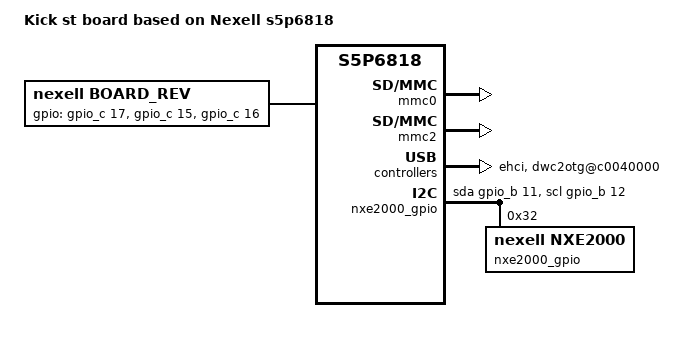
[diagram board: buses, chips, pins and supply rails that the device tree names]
/*
 * (C) Copyright 2016 Nexell
 * Young bok <ybpark@nexell.co.kr>
 *
 * SPDX-License-Identifier: GPL-2.0+
 */

/dts-v1/;
#include "s5p6818.dtsi"
#include "s5p6818-kick-st-nxe2000.dtsi"

/ {
	model = "Kick st board based on Nexell s5p6818";
	cpu-model = "S5p6818";

	compatible = "nexell,kick-st", "nexell,s5p6818";

	mmc0:mmc@c0062000 {
		frequency = <50000000>;
		nexell,drive_dly = <0x0>;
		nexell,drive_shift = <0x03>;
		nexell,sample_dly = <0x00>;
		nexell,sample_shift = <0x02>;
		status = "okay";
	};

	mmc2:mmc@c0069000 {
		frequency = <50000000>;
		nexell,drive_dly = <0x0>;
		nexell,drive_shift = <0x03>;
		nexell,sample_dly = <0x00>;
		nexell,sample_shift = <0x02>;
		nexell,bus-width = <4>;
		index = <2>;
		status = "okay";
	};

	ehci:usbhost@c0030000 {
		status = "okay";
	};

	dwc2otg@c0040000 {
		status = "okay";
	};

	nxe2000_gpio:i2c_gpio@0 {
		compatible = "i2c-gpio";
		#address-cells = <1>;
		#size-cells = <0>;
		gpios = <&gpio_b 11 1>,	/* SDA */
		      <&gpio_b 12 1>;	/* SCL */

		i2c-gpio,delay-us = <3>;
		nxe2000_gpio@32 {
			compatible = "nexell,nxe2000";
			reg = <0x32>;
		};
	};

	board_rev:rev@0 {
		#address-cells = <1>;
		#size-cells = <0>;
		gpios = < &gpio_c 17 0 >,
		      < &gpio_c 15 0 >,
		      < &gpio_c 16 0 >;
		maps = < 7 0 >;
		compatible = "nexell,board_rev";
	};

};
